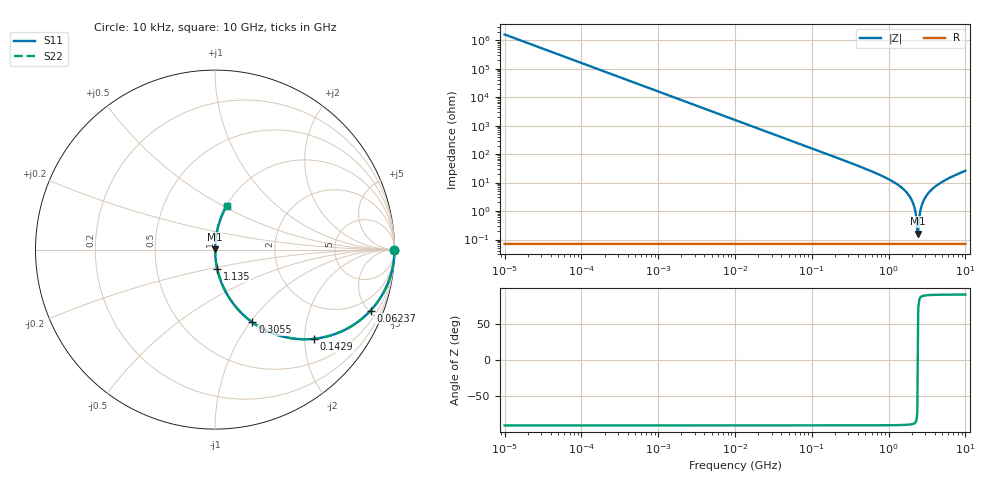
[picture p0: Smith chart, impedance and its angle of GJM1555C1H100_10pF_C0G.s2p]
! Touchstone 2-port S-parameters  (series-through model)
! Part: GJM1555C1H100_10pF_C0G
! Generated: 2026-06-14 12:05 UTC  by s2p tool
! Reference impedance: 50.0 Ohm
! ESL estimated from SRF: 0.440 nH (SRF=2400.0 MHz) [PHYSICS ESTIMATE]
! ESTIMATED / behavioral model - NOT manufacturer-measured data.
# Hz S RI R 50
! freq  ReS11  ImS11  ReS21  ImS21  ReS12  ImS12  ReS22  ImS22
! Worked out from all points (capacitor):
!   520 points, 10 kHz to 10 GHz, reference 50 ohm
!   read as one part in series: C = 10 pF near 10.72 kHz
!   lowest |Z| = 162 mohm at 2.427 GHz (marker M1)
!   series resonance near 2.4 GHz, so ESL is about 440 pH
!   S11 on the Smith chart (normalised r, x): 10 kHz: open; 62.37 MHz: 1.00, -5.10; 142.9 MHz: 1.00, -2.22; 305.5 MHz: 1.00, -1.03; 1.135 GHz: 1.00, -0.22; 10 GHz: 1.00, +0.52
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10000  1 -6.28e-05  3.95e-09 6.28e-05  3.95e-09 6.28e-05  1 -6.28e-05
16788.04  1 -0.000105  1.11e-08 0.000105  1.11e-08 0.000105  1 -0.000105
101157.9  1 -0.000636  4.04e-07 0.000636  4.04e-07 0.000636  1 -0.000636
1023293  1 -0.00643  4.14e-05 0.00643  4.14e-05 0.00643  1 -0.00643
1e7  0.9961 -0.0626  0.00394 0.0626  0.00394 0.0626  0.9961 -0.0626
6.237348e7  0.8666 -0.3398  0.1334 0.3398  0.1334 0.3398  0.8666 -0.3398
1.011579e8  0.7114 -0.4529  0.2886 0.4529  0.2886 0.4529  0.7114 -0.4529
1.428894e8  0.5519 -0.497  0.4481 0.497  0.4481 0.497  0.5519 -0.497
3.054921e8  0.2084 -0.4055  0.7916 0.4055  0.7916 0.4055  0.2084 -0.4055
1.014724e9  0.017 -0.1265  0.983 0.1265  0.983 0.1265  0.017 -0.1265
1.135011e9  0.0124 -0.1074  0.9876 0.1074  0.9876 0.1074  0.0124 -0.1074
1.959716e9  0.00143 -0.027  0.9986 0.027  0.9986 0.027  0.00143 -0.027
2.152921e9  0.000907 -0.0144  0.9991 0.0144  0.9991 0.0144  0.000907 -0.0144
2.365174e9  0.000703 -0.00194  0.9993 0.00194  0.9993 0.00194  0.000703 -0.00194
2.42661e9  0.000702 0.00146  0.9993 -0.00146  0.9993 -0.00146  0.000702 0.00146
2.511886e9  0.000736 0.00604  0.9993 -0.00604  0.9993 -0.00604  0.000736 0.00604
2.518178e9  0.00074 0.00637  0.9993 -0.00637  0.9993 -0.00637  0.00074 0.00637
2.60016e9  0.000812 0.0106  0.9992 -0.0106  0.9992 -0.0106  0.000812 0.0106
2.691535e9  0.000931 0.0152  0.9991 -0.0152  0.9991 -0.0152  0.000931 0.0152
3.338809e9  0.00268 0.0444  0.9973 -0.0444  0.9973 -0.0444  0.00268 0.0444
5.018146e9  0.012 0.1056  0.988 -0.1056  0.988 -0.1056  0.012 0.1056
1e10  0.0641 0.2435  0.9359 -0.2435  0.9359 -0.2435  0.0641 0.2435
